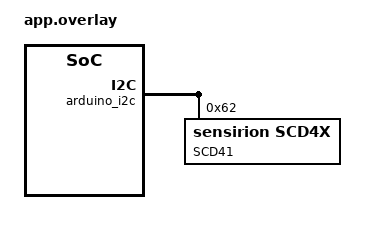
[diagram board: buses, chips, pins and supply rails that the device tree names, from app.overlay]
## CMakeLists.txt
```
# SPDX-License-Identifier: Apache-2.0

cmake_minimum_required(VERSION 3.13.1)
find_package(Zephyr REQUIRED HINTS $ENV{ZEPHYR_BASE})
project(scd4x)

FILE(GLOB app_sources src/*.c)
target_sources(app PRIVATE ${app_sources})
```

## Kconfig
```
# Copyright (c) 2021 Thomas Stranger
# SPDX-License-Identifier: Apache-2.0

config LOG
	default y

config LOG_PRINTK
	default y

config SENSOR_LOG_LEVEL
	default 4

menu "SCD4x sample application configuration"

config APP_CALIBRATE_ENVIRONMENT
	bool "Calibrate SCDx sensor environmental parameters"
	select SCD4X_MEASURE_MODE_RUNTIME_CHANGE
	default n

config APP_TEMPERATURE_OFFSET
	int "Temperature offset (in milli degrees Celsius)"
	default 4000
	depends on APP_CALIBRATE_ENVIRONMENT
	help
	  Temperature offset can be changed to compensate error due to
	  self-heating.
	  Temperature offset only has influence on RH and ambient temperature
	  sensor channels' accuracy only, not on CO2.
	  The offset depends on the measurement mode, self-heating, the ambient
	  temperature, the air flow and the position of the sensor in the device.

config APP_ALTITUDE
	int "Sensor altitude (in m)"
	default 0
	depends on APP_CALIBRATE_ENVIRONMENT
	help
	  The altitude can be used for pressure comensation as an alternative
	  to an ambient pressure value.

config APP_FORCE_CO2_CALIBRATION
	bool "Force CO2 calibration to defined reference value"
	select SCD4X_MEASURE_MODE_RUNTIME_CHANGE
	select SCD4X_FORCED_CALIBRATION_SUPPORT
	default n
	help
	  Additionally to the automatic self calibration(ASC) calibrate the
	  sensor to a reference value.
	  Typically used to compensate drifts caused by extensive stress to
	  the sensor or the assembly process.

config APP_CO2_REFERENCE_VALUE
	int "CO2 Reference value"
	default 416
	depends on APP_FORCE_CO2_CALIBRATION
	help
	  Reference value the sensor is calibrated to. The de-seasonilzed
	  CO2 concentration during February 2021 was 416 ppm at
	  Mauna Loa Observatory(https://www.esrl.noaa.gov/gmd/ccgg/trends/).

config APP_CO2_CALIBRATION_STABILIZATION_TIME
	int "CO2 Calibration stabilization time (in s)"
	default 200
	depends on APP_FORCE_CO2_CALIBRATION
	help
	  Time in seconds the app waits before executing the forced calibration.

config APP_ENABLE_AUTO_SELF_CALIBRATION
	bool "Enable automatic self-calibration"
	default y
	help
	  The automatic self-calibration algorithm assumes that the sensor
	  is exposed to atmospheric CO2 concentration of 400 ppm at least
	  once per week.
	  In applications where this is not the case better results can be
	  achieved if the auto calibration is disabled.

config APP_PERSIST_SETTINGS
	bool "Persist Settings"
	select SCD4X_MEASURE_MODE_RUNTIME_CHANGE
	default n
	help
	  Permanently apply the configuration values.
	  This should be enabled only if actual changes have been made,
	  as the sensor guarantees only 2000 write cycles before failure.

endmenu # "SCD4x sample application configuration"

source "Kconfig.zephyr"
```

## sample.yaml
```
sample:
  name: SCD4x Sensor sample
tests:
  sample.sensor.scd4x:
    harness: console
    tags: sensors
    platform_allow: i2c arduino_i2c
    harness_config:
        type: one_line
        regex:
            - "CO2: (.*); temp: (.*); humidity: (.*)"
        fixture: fixture_i2c_scd4x
```

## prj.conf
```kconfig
CONFIG_ASSERT=y # validation
CONFIG_I2C=y
CONFIG_SENSOR=y
CONFIG_SCD4X=y

#CONFIG_SCD4X_FACTORY_RESET_AT_INIT=y
#CONFIG_SCD4X_SELFTEST_AT_INIT=y
CONFIG_SCD4X_MEASURE_MODE_RUNTIME_CHANGE=y

CONFIG_SCD4X_MEASURE_PERIODIC_HPM=y
#CONFIG_SCD4X_MEASURE_PERIODIC_LPM=y
#CONFIG_SCD4X_MEASURE_SINGLE_SHOT=y
```

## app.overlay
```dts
/*
 * Copyright (c) 2021 Thomas Stranger
 *
 * SPDX-License-Identifier: Apache-2.0
 */

/*
 * A SCD41 attached to the Arduino I2C pins
 */

&arduino_i2c {
	SCD41@62 {
		status = "okay";
		compatible = "sensirion,scd4x";
		reg = <0x62>;
		single-shot-support;
		label = "SCD41";
	};
};
```

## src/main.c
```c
/*
 * Copyright (c) 2021 Thomas Stranger
 *
 * SPDX-License-Identifier: Apache-2.0
 */

#include <zephyr.h>
#include <device.h>
#include <devicetree.h>
#include <drivers/sensor.h>

#define SCD4X DT_INST(0, sensirion_scd4x)

#if DT_NODE_HAS_STATUS(SCD4X, okay)
#define SCD4X_LABEL DT_LABEL(SCD4X)
#else
#error Your devicetree has no enabled nodes with compatible "sensirion,scd4x"
#define SCD4X_LABEL "<none>"
#endif

#if CONFIG_SCD4X_MEASURE_PERIODIC_HPM
#define SAMPLING_INTERVAL_S 5
#define TEMP_OFFSET         3000
#elif CONFIG_SCD4X_MEASURE_PERIODIC_LPM
#define SAMPLING_INTERVAL_S 30
#define TEMP_OFFSET         3000
#elif CONFIG_SCD4X_MEASURE_SINGLE_SHOT
#define SAMPLING_INTERVAL_S 300
#define TEMP_OFFSET         1700
#else
#error
#endif

#if defined(CONFIG_APP_ENABLE_AUTO_SELF_CALIBRATION)
#define AUTO_SELF_CALIBRATION 1
#else
#define AUTO_SELF_CALIBRATION 0
#endif

#if defined(CONFIG_APP_CALIBRATE_ENVIRONMENT)
static int calibrate_environment(const struct device *dev)
{
	struct sensor_value temp_offset;
	struct sensor_value sensor_altitude;

	temp_offset.val1 = CONFIG_APP_TEMPERATURE_OFFSET / 1000;
	temp_offset.val2 = (CONFIG_APP_TEMPERATURE_OFFSET % 1000) * 1000U;
	if (sensor_attr_set(dev, SENSOR_CHAN_AMBIENT_TEMP, SENSOR_ATTR_OFFSET,
			&temp_offset) != 0) {
		printk("Couldn't set temperature offset\n");
		return -1;
	}
	sensor_attr_get(dev, SENSOR_CHAN_AMBIENT_TEMP, SENSOR_ATTR_OFFSET,
			&temp_offset);

	/*
	 * pressure compensation can be done either by defining the altitude
	 * or by providing the pressure value directly. Only the second one
	 * can be done continuously during a peridic measure mode.
	 */
	sensor_altitude.val1 = CONFIG_APP_ALTITUDE;
	sensor_altitude.val2 = 0;
	if (sensor_attr_set(dev, SENSOR_CHAN_ALTITUDE, SENSOR_ATTR_CALIB_TARGET,
			&sensor_altitude)) {
		printk("Couldn't set sensor sensor_altitude\n");
		return -1;
	}
	printk("Temperatureoffset and Altitude calibrated successfully\n");
	return 0;
}
#endif /* defined(CONFIG_APP_CALIBRATE_ENVIRONMENT) */

static int automatic_self_calibration_set(const struct device *dev, bool enabled)
{
	struct sensor_value asc_enabled;

	asc_enabled.val1 = 0;
	asc_enabled.val2 = enabled;
	if (sensor_attr_set(dev, SENSOR_CHAN_CO2, SENSOR_ATTR_CALIB_TARGET,
			&asc_enabled)) {
		printk("Couldn't set Automatic Self-calibration target\n");
		return -1;
	}
	printk("Automatic Self-calibration enabled=%d\n", enabled);
	return 0;
}

#if defined(CONFIG_APP_PERSIST_SETTINGS)
static int persist_settings(const struct device *dev)
{
	struct sensor_value unused_val;

	unused_val.val1 = 0;
	unused_val.val2 = 0;
	if (sensor_attr_set(dev, SENSOR_CHAN_ALL, SENSOR_ATTR_CONFIG_PERSIST,
			&unused_val)) {
		printk("Couldn't apply configuration permanently\n");
		return -1;
	}
	printk("Settings persisted successfully\n");
	return 0;
}
#endif /* defined(CONFIG_APP_PERSIST_SETTINGS) */

#if defined(CONFIG_APP_FORCE_CO2_CALIBRATION)
/* turns off periodic measure mode and keeps it disabled */
static int co2_calibration_force(const struct device *dev)
{
	struct sensor_value val;
	struct sensor_value co2_forced;
	int stabilization_time = CONFIG_APP_CO2_CALIBRATION_STABILIZATION_TIME;

	printk("Enabling high performance mode by setting short measure period\n");
	val.val1 = 0;
	val.val2 = 200 * 1000; /* 1/5s = 200mHz */
	if (sensor_attr_set(dev, SENSOR_CHAN_ALL, SENSOR_ATTR_SAMPLING_FREQUENCY,
			&val)) {
		printk("Couldn't set hpm mode\n");
		return -1;
	}

	printk("Stabilze measurement by keeping sensor in constant co2"
	       " concentration for %ds\n", stabilization_time);
	for (int i = 0; i < 10; ++i) {
		printk("%d%%...", i*10);
		k_sleep(K_SECONDS(stabilization_time/10));
	}
	printk("100%%\n\n");

	printk("Setting CO2 reference value to %d\n",
	       CONFIG_APP_CO2_REFERENCE_VALUE);
	co2_forced.val1 = CONFIG_APP_CO2_REFERENCE_VALUE;
	co2_forced.val2 = 0;
	if (sensor_attr_set(dev, SENSOR_CHAN_CO2, SENSOR_ATTR_CALIB_TARGET,
			&co2_forced)) {
		printk("Couldn't set sensor sensor_altitude\n");
		return -1;
	}

	printk("CO2 calibration complete\n\n");
	return 0;
}
#endif /* defined(CONFIG_APP_FORCE_CO2_CALIBRATION) */

/* #if defined(CONFIG_APP_CALIBRATE_ENVIRONMENT) */
static int periodic_measure_mode_disable(const struct device *dev)
{
	struct sensor_value val;

	val.val1 = 0;
	val.val2 = 0;

	if (sensor_attr_set(dev, SENSOR_CHAN_ALL,
			    SENSOR_ATTR_SAMPLING_FREQUENCY, &val)) {
		printk("Couldn't disable periodic measure mode\n");
		return -1;
	}
	printk("Periodic measure mode disabled\n");
	return 0;
}
/* #endif /1* defined(CONFIG_APP_CALIBRATE_ENVIRONMENT) *1/ */

static int measure_mode_restore_default(const struct device *dev)
{
	struct sensor_value val;

#if defined(CONFIG_SCD4X_MEASURE_SINGLE_SHOT)
	val.val1 = 0;
	val.val2 = 0;
#else
	val.val1 = 0;
	val.val2 = 1000000 / SAMPLING_INTERVAL_S;
#endif
	if (sensor_attr_set(dev, SENSOR_CHAN_ALL,
			    SENSOR_ATTR_SAMPLING_FREQUENCY, &val)) {
		printk("Couldn't restore the configured measure mode\n");
		return -1;
	}
	printk("Default measure mode restored\n");
	return 0;
}

static int print_sensor_attributes(const struct device *dev)
{
	struct sensor_value val;

	printk("\nCurrent SCD4x configuration:\n");

	if (sensor_attr_get(dev, SENSOR_CHAN_AMBIENT_TEMP,
			    SENSOR_ATTR_OFFSET, &val)) {
		printk("Couldn't read temp offset\n");
		return -1;
	}
	printk("Ambient temperature offset: % 6d.%06d\n", val.val1, val.val2);

	if (sensor_attr_get(dev, SENSOR_CHAN_ALTITUDE,
			    SENSOR_ATTR_CALIB_TARGET, &val)) {
		printk("Couldn't read current altitude\n");
		return -1;
	}
	printk("Sensor altitude:            % 6d.0\n", val.val1);

	if (sensor_attr_get(dev, SENSOR_CHAN_CO2,
			    SENSOR_ATTR_CALIB_TARGET, &val)) {
		printk("Couldn't read automatic self-calibration mode\n");
		return -1;
	}
	printk("Auto self calib enabled: %d\n\n", val.val2);
	return 0;
}

void main(void)
{
	const struct device *dev = device_get_binding(SCD4X_LABEL);

	if (dev == NULL) {
		printk("No device \"%s\" found; did initialization fail?\n",
		       SCD4X_LABEL);
		return;
	}
	printk("Found device \"%s\"\n", SCD4X_LABEL);

	periodic_measure_mode_disable(dev);
	print_sensor_attributes(dev);
#if defined(CONFIG_APP_CALIBRATE_ENVIRONMENT)
	calibrate_environment(dev);
#endif /* defined(CONFIG_APP_CALIBRATE_ENVIRONMENT)*/
	automatic_self_calibration_set(dev, AUTO_SELF_CALIBRATION);
#if defined(CONFIG_APP_PERSIST_SETTINGS)
	persist_settings(dev);
#endif /* defined(CONFIG_APP_PERSIST_SETTINGS) */
#if defined(CONFIG_APP_FORCE_CO2_CALIBRATION)
	co2_calibration_force(dev);
#endif
	measure_mode_restore_default(dev);
	k_sleep(K_SECONDS(7));

	while (1) {
		struct sensor_value co2, temp, humidity;

		sensor_sample_fetch(dev);
		sensor_channel_get(dev, SENSOR_CHAN_CO2, &co2);
		sensor_channel_get(dev, SENSOR_CHAN_AMBIENT_TEMP, &temp);
		sensor_channel_get(dev, SENSOR_CHAN_HUMIDITY, &humidity);

		printk("CO2: %d; temp: %d.%06d; humidity: %d.%06d\n",
		      co2.val1, temp.val1, temp.val2,
		      humidity.val1, humidity.val2);

		k_sleep(K_SECONDS(SAMPLING_INTERVAL_S));
	}
}
```
